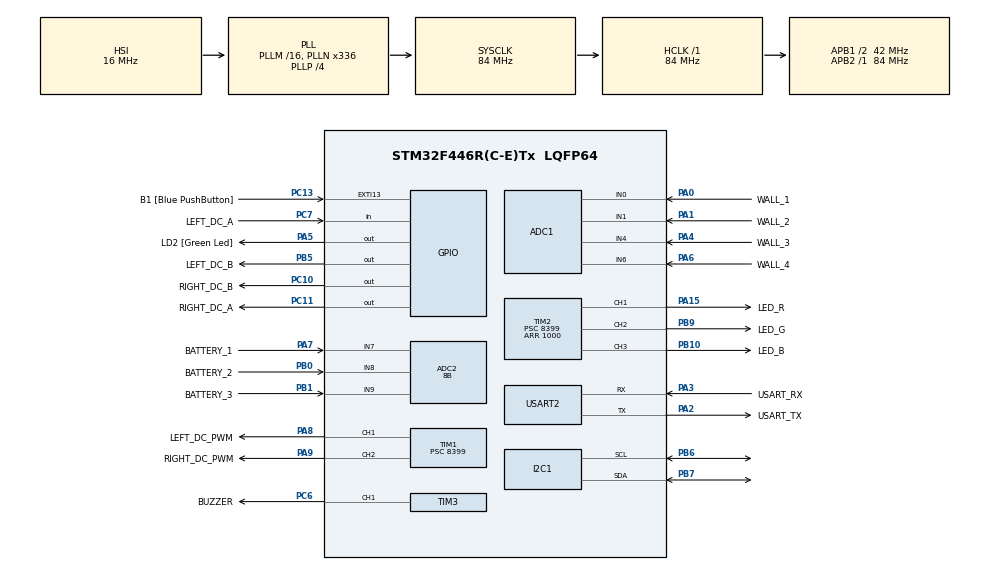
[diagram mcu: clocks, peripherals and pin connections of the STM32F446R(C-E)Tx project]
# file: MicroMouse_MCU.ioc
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ADC1.Channel-0\#ChannelRegularConversion=ADC_CHANNEL_0
ADC1.Channel-1\#ChannelRegularConversion=ADC_CHANNEL_1
ADC1.Channel-2\#ChannelRegularConversion=ADC_CHANNEL_4
ADC1.Channel-3\#ChannelRegularConversion=ADC_CHANNEL_4
ADC1.ClockPrescaler=ADC_CLOCK_SYNC_PCLK_DIV8
ADC1.ContinuousConvMode=ENABLE
ADC1.DMAContinuousRequests=ENABLE
ADC1.NbrOfConversion=4
ADC1.NbrOfConversionFlag=1
ADC1.Rank-0\#ChannelRegularConversion=1
ADC1.Rank-1\#ChannelRegularConversion=2
ADC1.Rank-2\#ChannelRegularConversion=3
ADC1.Rank-3\#ChannelRegularConversion=4
ADC1.SamplingTime-0\#ChannelRegularConversion=ADC_SAMPLETIME_480CYCLES
ADC1.SamplingTime-1\#ChannelRegularConversion=ADC_SAMPLETIME_480CYCLES
ADC1.SamplingTime-2\#ChannelRegularConversion=ADC_SAMPLETIME_480CYCLES
ADC1.SamplingTime-3\#ChannelRegularConversion=ADC_SAMPLETIME_480CYCLES
ADC1.ScanConvMode=ENABLE
ADC1.master=1
ADC2.Channel-0\#ChannelRegularConversion=ADC_CHANNEL_7
ADC2.Channel-1\#ChannelRegularConversion=ADC_CHANNEL_8
ADC2.Channel-2\#ChannelRegularConversion=ADC_CHANNEL_9
ADC2.ClockPrescaler=ADC_CLOCK_SYNC_PCLK_DIV8
ADC2.ContinuousConvMode=ENABLE
ADC2.DMAContinuousRequests=ENABLE
ADC2.NbrOfConversion=3
ADC2.NbrOfConversionFlag=1
ADC2.Rank-0\#ChannelRegularConversion=1
ADC2.Rank-1\#ChannelRegularConversion=2
ADC2.Rank-2\#ChannelRegularConversion=3
ADC2.Resolution=ADC_RESOLUTION_8B
ADC2.SamplingTime-0\#ChannelRegularConversion=ADC_SAMPLETIME_480CYCLES
ADC2.SamplingTime-1\#ChannelRegularConversion=ADC_SAMPLETIME_480CYCLES
ADC2.SamplingTime-2\#ChannelRegularConversion=ADC_SAMPLETIME_480CYCLES
ADC2.ScanConvMode=ENABLE
Dma.ADC1.0.Direction=DMA_PERIPH_TO_MEMORY
Dma.ADC1.0.FIFOMode=DMA_FIFOMODE_DISABLE
Dma.ADC1.0.Instance=DMA2_Stream0
Dma.ADC1.0.MemDataAlignment=DMA_MDATAALIGN_HALFWORD
Dma.ADC1.0.MemInc=DMA_MINC_ENABLE
Dma.ADC1.0.Mode=DMA_NORMAL
Dma.ADC1.0.PeriphDataAlignment=DMA_PDATAALIGN_HALFWORD
Dma.ADC1.0.PeriphInc=DMA_PINC_DISABLE
Dma.ADC1.0.Priority=DMA_PRIORITY_LOW
Dma.Request0=ADC1
Mcu.Family=STM32F4
Mcu.Name=STM32F446R(C-E)Tx
Mcu.Package=LQFP64
NVIC.DMA2_Stream0_IRQn=true\:0\:0\:false\:false\:true
NVIC.I2C1_ER_IRQn=true\:0\:0\:false\:false\:true
NVIC.I2C1_EV_IRQn=true\:0\:0\:false\:false\:true
NVIC.PriorityGroup=NVIC_PRIORITYGROUP_0
NVIC.USART2_IRQn=true\:0\:0\:false\:false\:true
PA0-WKUP.GPIO_Label=WALL_1
PA0-WKUP.Signal=ADCx_IN0
PA1.GPIO_Label=WALL_2
PA1.Signal=ADCx_IN1
PA13.GPIO_Label=TMS
PA13.Signal=SYS_JTMS-SWDIO
PA14.GPIO_Label=TCK
PA14.Signal=SYS_JTCK-SWCLK
PA15.GPIO_Label=LED_R
PA15.Signal=S_TIM2_CH1_ETR
PA2.GPIO_Label=USART_TX
PA2.Mode=Asynchronous
PA2.Signal=USART2_TX
PA3.GPIO_Label=USART_RX
PA3.Mode=Asynchronous
PA3.Signal=USART2_RX
PA4.GPIO_Label=WALL_3
PA4.Signal=ADCx_IN4
PA5.GPIO_Label=LD2 [Green Led]
PA5.Signal=GPIO_Output
PA6.GPIO_Label=WALL_4
PA6.Signal=ADCx_IN6
PA7.GPIO_Label=BATTERY_1
PA7.Signal=ADCx_IN7
PA8.GPIO_Label=LEFT_DC_PWM
PA8.Signal=S_TIM1_CH1
PA9.GPIO_Label=RIGHT_DC_PWM
PA9.Signal=S_TIM1_CH2
PB0.GPIO_Label=BATTERY_2
PB0.Signal=ADCx_IN8
PB1.GPIO_Label=BATTERY_3
PB1.Signal=ADCx_IN9
PB10.GPIO_Label=LED_B
PB10.Signal=S_TIM2_CH3
PB3.GPIO_Label=SWO
PB3.Signal=SYS_JTDO-SWO
PB5.GPIO_Label=LEFT_DC_B
PB5.Signal=GPIO_Output
PB6.Mode=I2C
PB6.Signal=I2C1_SCL
PB7.Mode=I2C
PB7.Signal=I2C1_SDA
PB9.GPIO_Label=LED_G
PB9.Signal=S_TIM2_CH2
PC10.GPIO_Label=RIGHT_DC_B
PC10.Signal=GPIO_Output
PC11.GPIO_Label=RIGHT_DC_A
PC11.Signal=GPIO_Output
PC13.GPIO_Label=B1 [Blue PushButton]
PC13.GPIO_ModeDefaultEXTI=GPIO_MODE_IT_FALLING
PC13.Signal=GPXTI13
PC14-OSC32_IN.Signal=RCC_OSC32_IN
PC15-OSC32_OUT.Signal=RCC_OSC32_OUT
PC6.GPIO_Label=BUZZER
PC6.Signal=S_TIM3_CH1
PC7.GPIO_Label=LEFT_DC_A
PC7.Signal=GPIO_Input
PH0-OSC_IN.Signal=RCC_OSC_IN
PH1-OSC_OUT.Signal=RCC_OSC_OUT
ProjectManager.HeapSize=0x200
ProjectManager.StackSize=0x400
ProjectManager.TargetToolchain=SW4STM32
RCC.AHBFreq_Value=84000000
RCC.APB1CLKDivider=RCC_HCLK_DIV2
RCC.APB1Freq_Value=42000000
RCC.APB1TimFreq_Value=84000000
RCC.APB2Freq_Value=84000000
RCC.APB2TimFreq_Value=84000000
RCC.CortexFreq_Value=84000000
RCC.FLatency-AdvancedSettings=FLASH_LATENCY_2
RCC.HCLKFreq_Value=84000000
RCC.HSE_VALUE=8000000
RCC.HSI_VALUE=16000000
RCC.LSE_VALUE=32768
RCC.PLLN=336
RCC.PLLP=RCC_PLLP_DIV4
RCC.SYSCLKFreq_VALUE=84000000
RCC.SYSCLKSource=RCC_SYSCLKSOURCE_PLLCLK
RCC.USBFreq_Value=168000000
RCC.VCOOutputFreq_Value=336000000
SH.ADCx_IN0.0=ADC1_IN0,IN0
SH.ADCx_IN1.0=ADC1_IN1,IN1
SH.ADCx_IN4.0=ADC1_IN4,IN4
SH.ADCx_IN6.0=ADC1_IN6,IN6
SH.ADCx_IN7.0=ADC2_IN7,IN7
SH.ADCx_IN8.0=ADC2_IN8,IN8
SH.ADCx_IN9.0=ADC2_IN9,IN9
SH.S_TIM1_CH1.0=TIM1_CH1,PWM Generation1 CH1
SH.S_TIM1_CH2.0=TIM1_CH2,PWM Generation2 CH2
SH.S_TIM2_CH1_ETR.0=TIM2_CH1,PWM Generation1 CH1
SH.S_TIM2_CH2.0=TIM2_CH2,PWM Generation2 CH2
SH.S_TIM2_CH3.0=TIM2_CH3,PWM Generation3 CH3
SH.S_TIM3_CH1.0=TIM3_CH1,PWM Generation1 CH1
TIM1.Channel-PWM\ Generation2\ CH2=TIM_CHANNEL_2
TIM1.Period=1023
TIM1.Prescaler=8399
TIM2.Channel-PWM\ Generation2\ CH2=TIM_CHANNEL_2
TIM2.Channel-PWM\ Generation3\ CH3=TIM_CHANNEL_3
TIM2.Period=1000
TIM2.Prescaler=8399
TIM3.Period=999
TIM3.Prescaler=8399
board=NUCLEO-F446RE

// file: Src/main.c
/**
  ******************************************************************************
  * File Name          : main.c
  * Description        : Main program body
  ******************************************************************************
  *
  * COPYRIGHT(c) 2017 STMicroelectronics
  *
  * Redistribution and use in source and binary forms, with or without modification,
  * are permitted provided that the following conditions are met:
  *   1. Redistributions of source code must retain the above copyright notice,
  *      this list of conditions and the following disclaimer.
  *   2. Redistributions in binary form must reproduce the above copyright notice,
  *      this list of conditions and the following disclaimer in the documentation
  *      and/or other materials provided with the distribution.
  *   3. Neither the name of STMicroelectronics nor the names of its contributors
  *      may be used to endorse or promote products derived from this software
  *      without specific prior written permission.
  *
  * THIS SOFTWARE IS PROVIDED BY THE COPYRIGHT HOLDERS AND CONTRIBUTORS "AS IS"
  * AND ANY EXPRESS OR IMPLIED WARRANTIES, INCLUDING, BUT NOT LIMITED TO, THE
  * IMPLIED WARRANTIES OF MERCHANTABILITY AND FITNESS FOR A PARTICULAR PURPOSE ARE
  * DISCLAIMED. IN NO EVENT SHALL THE COPYRIGHT HOLDER OR CONTRIBUTORS BE LIABLE
  * FOR ANY DIRECT, INDIRECT, INCIDENTAL, SPECIAL, EXEMPLARY, OR CONSEQUENTIAL
  * DAMAGES (INCLUDING, BUT NOT LIMITED TO, PROCUREMENT OF SUBSTITUTE GOODS OR
  * SERVICES; LOSS OF USE, DATA, OR PROFITS; OR BUSINESS INTERRUPTION) HOWEVER
  * CAUSED AND ON ANY THEORY OF LIABILITY, WHETHER IN CONTRACT, STRICT LIABILITY,
  * OR TORT (INCLUDING NEGLIGENCE OR OTHERWISE) ARISING IN ANY WAY OUT OF THE USE
  * OF THIS SOFTWARE, EVEN IF ADVISED OF THE POSSIBILITY OF SUCH DAMAGE.
  *
  ******************************************************************************
  */
#include "main.h"
#include "stm32f4xx_hal.h"
#include "adc.h"
#include "dma.h"
#include "i2c.h"
#include "tim.h"
#include "usart.h"
#include "gpio.h"

/* USER CODE BEGIN Includes */
#include <stdbool.h>
#include "userInterface.h"
#include "vector3D.h"
#include "position.h"
//#include "position.h"
/* USER CODE END Includes */

/* USER CODE BEGIN PV */
/* Private variables ---------------------------------------------------------*/

/* USER CODE END PV */

void SystemClock_Config(void);
void Error_Handler(void);

/* USER CODE BEGIN PFP */
/* Private function prototypes -----------------------------------------------*/

/* USER CODE END PFP */

/* USER CODE BEGIN 0 */

volatile uint32_t absolutTime = 0;
extern vector3D w, g, mag;
HAL_StatusTypeDef status;
/* USER CODE END 0 */

int main(void)
{

  /* MCU Configuration----------------------------------------------------------*/

  /* Reset of all peripherals, Initializes the Flash interface and the Systick. */
  HAL_Init();

  /* Configure the system clock */
  SystemClock_Config();

  /* Initialize all configured peripherals */
  MX_GPIO_Init();
  MX_DMA_Init();
  MX_I2C1_Init();
  MX_USART2_UART_Init();
  MX_TIM1_Init();
  MX_ADC1_Init();
  MX_ADC2_Init();
  MX_TIM2_Init();
  MX_TIM3_Init();

  /* USER CODE BEGIN 2 */

  ui_init(&huart2);
  HAL_Delay(10);
  imu_init();

  /* USER CODE END 2 */

  /* Infinite loop */
  while (1)
  {

  /* USER CODE BEGIN 3 */

	  status = pos_calculate();
	  ui_writeFloat(g.x);
	  ui_writeText(" ");
	  ui_writeFloat(g.y);
	  ui_writeText(" ");
	  ui_writeFloat(g.z);
	  ui_writeText(" ");
	  ui_writeFloat(w.x);
	  ui_writeText(" ");
	  ui_writeFloat(w.y);
	  ui_writeText(" ");
	  ui_writeFloat(w.z);
	  ui_writeText("\n");
	  HAL_Delay(50);

  }
  /* USER CODE END 3 */

}

/** System Clock Configuration
*/
void SystemClock_Config(void)
{

  RCC_OscInitTypeDef RCC_OscInitStruct;
  RCC_ClkInitTypeDef RCC_ClkInitStruct;

    /**Configure the main internal regulator output voltage
    */
  __HAL_RCC_PWR_CLK_ENABLE();

  __HAL_PWR_VOLTAGESCALING_CONFIG(PWR_REGULATOR_VOLTAGE_SCALE3);

    /**Initializes the CPU, AHB and APB busses clocks
    */
  RCC_OscInitStruct.OscillatorType = RCC_OSCILLATORTYPE_HSI;
  RCC_OscInitStruct.HSIState = RCC_HSI_ON;
  RCC_OscInitStruct.HSICalibrationValue = 16;
  RCC_OscInitStruct.PLL.PLLState = RCC_PLL_ON;
  RCC_OscInitStruct.PLL.PLLSource = RCC_PLLSOURCE_HSI;
  RCC_OscInitStruct.PLL.PLLM = 16;
  RCC_OscInitStruct.PLL.PLLN = 336;
  RCC_OscInitStruct.PLL.PLLP = RCC_PLLP_DIV4;
  RCC_OscInitStruct.PLL.PLLQ = 2;
  RCC_OscInitStruct.PLL.PLLR = 2;
  if (HAL_RCC_OscConfig(&RCC_OscInitStruct) != HAL_OK)
  {
    Error_Handler();
  }

    /**Initializes the CPU, AHB and APB busses clocks
    */
  RCC_ClkInitStruct.ClockType = RCC_CLOCKTYPE_HCLK|RCC_CLOCKTYPE_SYSCLK
                              |RCC_CLOCKTYPE_PCLK1|RCC_CLOCKTYPE_PCLK2;
  RCC_ClkInitStruct.SYSCLKSource = RCC_SYSCLKSOURCE_PLLCLK;
  RCC_ClkInitStruct.AHBCLKDivider = RCC_SYSCLK_DIV1;
  RCC_ClkInitStruct.APB1CLKDivider = RCC_HCLK_DIV2;
  RCC_ClkInitStruct.APB2CLKDivider = RCC_HCLK_DIV1;

  if (HAL_RCC_ClockConfig(&RCC_ClkInitStruct, FLASH_LATENCY_2) != HAL_OK)
  {
    Error_Handler();
  }

    /**Configure the Systick interrupt time
    */
  HAL_SYSTICK_Config(HAL_RCC_GetHCLKFreq()/1000);

    /**Configure the Systick
    */
  HAL_SYSTICK_CLKSourceConfig(SYSTICK_CLKSOURCE_HCLK);

  /* SysTick_IRQn interrupt configuration */
  HAL_NVIC_SetPriority(SysTick_IRQn, 0, 0);
}

void Error_Handler(void)
{
  while(1)
  {
  }
}

/************************ (C) COPYRIGHT STMicroelectronics *****END OF FILE****/
